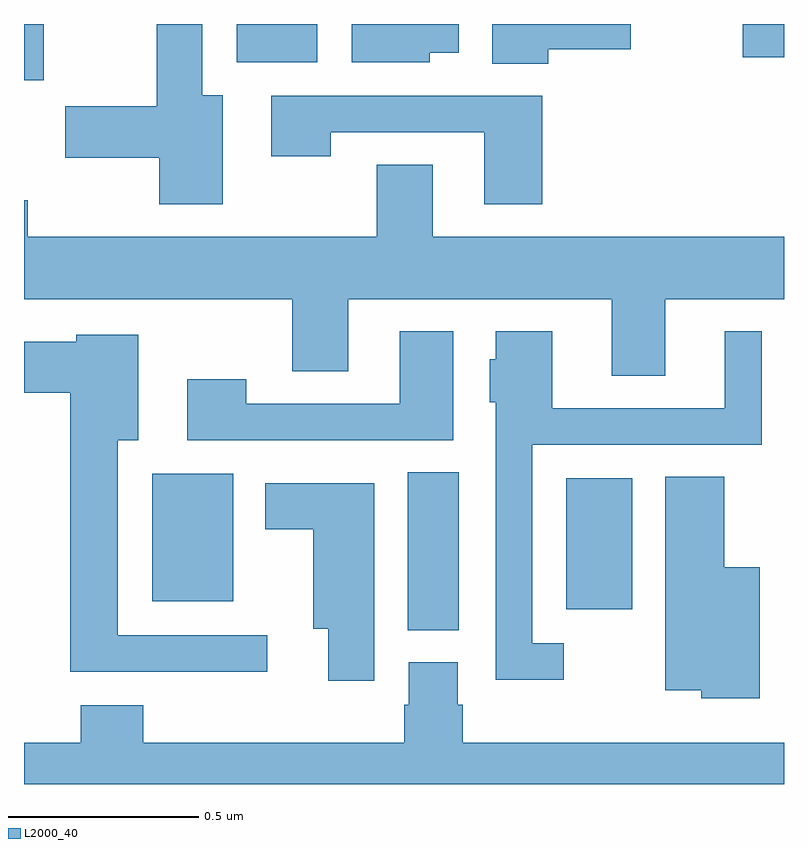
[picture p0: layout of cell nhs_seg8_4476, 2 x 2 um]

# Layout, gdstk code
import gdstk
lib = gdstk.Library(unit=1e-6, precision=1e-09)
def R(c, l, rs):  # rectangles x0, y0, x1, y1
    for r in rs: c.add(gdstk.rectangle(r[:2], r[2:], *l))
def P(c, l, *ps):  # polygons
    for p in ps: c.add(gdstk.Polygon(p, *l))
L2000_40 = (2000, 40)

nhs_seg8_4476 = lib.new_cell('nhs_seg8_4476')
R(nhs_seg8_4476, L2000_40, [(172.01,1106.305,172.144,1106.72), (172.427,1106.36,172.6,1106.704), (171.338,1106.381,171.55,1106.716), (171,1107.752,171.052,1107.9), (171.56,1107.8,171.772,1107.9), (172.892,1107.813,173,1107.9)])
P(nhs_seg8_4476, L2000_40, [(171.523,1107.712),(171.469,1107.712),(171.469,1107.9),(171.349,1107.9),(171.349,1107.683),(171.108,1107.683),(171.108,1107.548),(171.356,1107.548),(171.356,1107.426),(171.523,1107.426)],
  [(172.068,1107.824),(172.144,1107.824),(172.144,1107.9),(171.863,1107.9),(171.863,1107.8),(172.068,1107.8)],
  [(172.379,1107.833),(172.597,1107.833),(172.597,1107.9),(172.232,1107.9),(172.232,1107.796),(172.379,1107.796)],
  [(172.364,1107.711),(171.651,1107.711),(171.651,1107.552),(171.807,1107.552),(171.807,1107.615),(172.211,1107.615),(172.211,1107.426),(172.364,1107.426)],
  [(172.687,1107.176),(173,1107.176),(173,1107.34),(172.075,1107.34),(172.075,1107.53),(171.928,1107.53),(171.928,1107.34),(171.01,1107.34),(171.01,1107.436),(171,1107.436),(171,1107.176),(171.706,1107.176),(171.706,1106.986),(171.853,1106.986),(171.853,1107.176),(172.547,1107.176),(172.547,1106.974),(172.687,1106.974)],
  [(172.129,1107.091),(171.989,1107.091),(171.989,1106.901),(171.585,1106.901),(171.585,1106.965),(171.429,1106.965),(171.429,1106.805),(172.129,1106.805)],
  [(172.42,1106.271),(172.338,1106.271),(172.338,1106.793),(172.942,1106.793),(172.942,1107.091),(172.844,1107.091),(172.844,1106.889),(172.39,1106.889),(172.39,1107.091),(172.241,1107.091),(172.241,1107.018),(172.226,1107.018),(172.226,1106.904),(172.242,1106.904),(172.242,1106.174),(172.42,1106.174)],
  [(171.64,1106.292),(171.247,1106.292),(171.247,1106.804),(171.301,1106.804),(171.301,1107.082),(171.138,1107.082),(171.138,1107.064),(171,1107.064),(171,1106.93),(171.122,1106.93),(171.122,1106.195),(171.64,1106.195)],
  [(172.936,1106.47),(172.843,1106.47),(172.843,1106.708),(172.688,1106.708),(172.688,1106.147),(172.782,1106.147),(172.782,1106.126),(172.936,1106.126)],
  [(171.922,1106.692),(171.635,1106.692),(171.635,1106.57),(171.761,1106.57),(171.761,1106.309),(171.8,1106.309),(171.8,1106.172),(171.922,1106.172)],
  [(173,1106.008),(172.154,1106.008),(172.154,1106.109),(172.141,1106.109),(172.141,1106.22),(172.013,1106.22),(172.013,1106.109),(172.001,1106.109),(172.001,1106.008),(171.314,1106.008),(171.314,1106.107),(171.149,1106.107),(171.149,1106.008),(171,1106.008),(171,1105.9),(173,1105.9)])

lib.write_gds('nhs_seg8_4476.gds')
